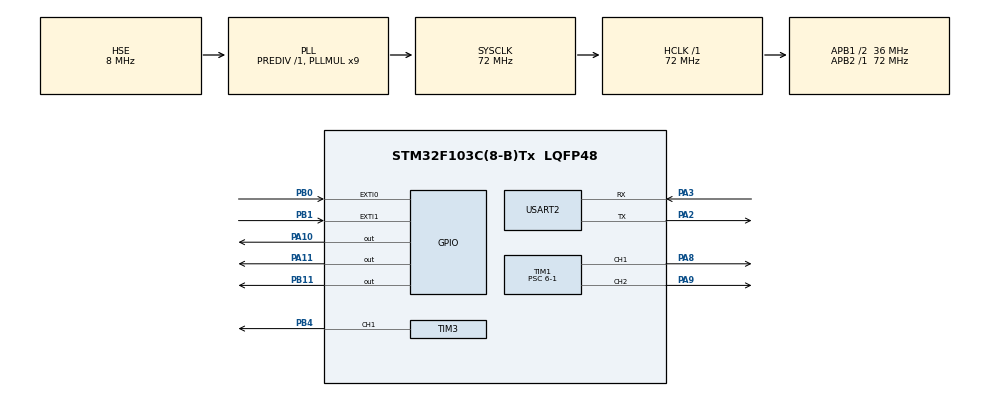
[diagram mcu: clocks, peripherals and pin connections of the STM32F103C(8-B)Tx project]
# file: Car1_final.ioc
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Dma.Request0=USART2_RX
Dma.USART2_RX.0.Direction=DMA_PERIPH_TO_MEMORY
Dma.USART2_RX.0.Instance=DMA1_Channel6
Dma.USART2_RX.0.MemDataAlignment=DMA_MDATAALIGN_BYTE
Dma.USART2_RX.0.MemInc=DMA_MINC_ENABLE
Dma.USART2_RX.0.Mode=DMA_NORMAL
Dma.USART2_RX.0.PeriphDataAlignment=DMA_PDATAALIGN_BYTE
Dma.USART2_RX.0.PeriphInc=DMA_PINC_DISABLE
Dma.USART2_RX.0.Priority=DMA_PRIORITY_LOW
Mcu.Family=STM32F1
Mcu.Name=STM32F103C(8-B)Tx
Mcu.Package=LQFP48
NVIC.DMA1_Channel6_IRQn=true\:0\:0\:false\:false\:true\:false\:true\:true
NVIC.EXTI0_IRQn=true\:0\:0\:false\:false\:true\:true\:true\:true
NVIC.EXTI1_IRQn=true\:0\:0\:false\:false\:true\:true\:true\:true
NVIC.PriorityGroup=NVIC_PRIORITYGROUP_4
PA10.Signal=GPIO_Output
PA11.Signal=GPIO_Output
PA13.Mode=Serial_Wire
PA13.Signal=SYS_JTMS-SWDIO
PA14.Mode=Serial_Wire
PA14.Signal=SYS_JTCK-SWCLK
PA2.Mode=Asynchronous
PA2.Signal=USART2_TX
PA3.Mode=Asynchronous
PA3.Signal=USART2_RX
PA8.Signal=S_TIM1_CH1
PA9.Signal=S_TIM1_CH2
PB0.Signal=GPXTI0
PB1.Signal=GPXTI1
PB11.Signal=GPIO_Output
PB4.Signal=S_TIM3_CH1
PD0-OSC_IN.Mode=HSE-External-Oscillator
PD0-OSC_IN.Signal=RCC_OSC_IN
PD1-OSC_OUT.Mode=HSE-External-Oscillator
PD1-OSC_OUT.Signal=RCC_OSC_OUT
ProjectManager.HeapSize=0x200
ProjectManager.StackSize=0x400
ProjectManager.TargetToolchain=STM32CubeIDE
RCC.AHBFreq_Value=72000000
RCC.APB1CLKDivider=RCC_HCLK_DIV2
RCC.APB1Freq_Value=36000000
RCC.APB1TimFreq_Value=72000000
RCC.APB2Freq_Value=72000000
RCC.APB2TimFreq_Value=72000000
RCC.HCLKFreq_Value=72000000
RCC.PLLMUL=RCC_PLL_MUL9
RCC.PLLSourceVirtual=RCC_PLLSOURCE_HSE
RCC.SYSCLKFreq_VALUE=72000000
RCC.SYSCLKSource=RCC_SYSCLKSOURCE_PLLCLK
RCC.USBFreq_Value=72000000
SH.S_TIM1_CH1.0=TIM1_CH1,PWM Generation1 CH1
SH.S_TIM1_CH2.0=TIM1_CH2,PWM Generation2 CH2
SH.S_TIM3_CH1.0=TIM3_CH1,PWM Generation1 CH1
TIM1.Channel-PWM\ Generation1\ CH1=TIM_CHANNEL_1
TIM1.Channel-PWM\ Generation2\ CH2=TIM_CHANNEL_2
TIM1.Period=12000-1
TIM1.Prescaler=6-1
TIM3.Channel-PWM\ Generation1\ CH1=TIM_CHANNEL_1
TIM3.Period=48000-1
TIM3.Prescaler=30-1
TIM3.Pulse-PWM\ Generation1\ CH1=3600
USART2.VirtualMode=VM_ASYNC
VP_TIM1_VS_ClockSourceINT.Mode=Internal
board=custom

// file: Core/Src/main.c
/* USER CODE BEGIN Header */
/**
  ******************************************************************************
  * @file           : main.c
  * @brief          : Main program body
  ******************************************************************************
  * @attention
  *
  * Copyright (c) 2024 STMicroelectronics.
  * All rights reserved.
  *
  * This software is licensed under terms that can be found in the LICENSE file
  * in the root directory of this software component.
  * If no LICENSE file comes with this software, it is provided AS-IS.
  *
  ******************************************************************************
  */
/* USER CODE END Header */
#include "main.h"

/* USER CODE BEGIN Includes */
//#include "GY85.h"
/* USER CODE END Includes */

TIM_HandleTypeDef htim1;
TIM_HandleTypeDef htim3;

UART_HandleTypeDef huart2;
DMA_HandleTypeDef hdma_usart2_rx;

/* USER CODE BEGIN PV */
flags_t timer_flags;
int time_ms = 0;
// counters for speed calculation
uint16_t front_wheel_interrupt_count = 0;
uint16_t rear_wheel_interrupt_count = 0;

// ipnut values for open loop control
uint16_t front_wheel_pwmval = 0;
uint16_t rear_wheel_pwmval = 0;
uint8_t is_go_backward = 0;
uint16_t tim3_pwmval_1 = 3600;
float steering_percentage = 0;

// IMU
//IMU_t IMU_car;
//uint16_t gyro_Z_raw[FILTER_N];
//float filtered_angle_rate = 0;
//float yaw_rate_buffer[YAW_RATE_BUF_SIZE];
//int yaw_rate_index = 0;

// map
map_t map;

// variables for pid control
PID_t image2steerPercent_PID_str;
PID_t front_wheel_PID_str;
PID_t rear_wheel_PID_str;
PID_t dis2spd_PID_str;
PID_t dis2spd_PID_str_back;

// UART
uint8_t rx_buffer[RX_BUFFER_SIZE];
uint8_t rx_main_buffer[MAIN_BUFFER_SIZE];

// camera
camera_t AMB82;
int camera_update_fail_count = 0;

/* USER CODE END PV */

void SystemClock_Config(void);
static void MX_GPIO_Init(void);
static void MX_DMA_Init(void);
static void MX_TIM1_Init(void);
static void MX_TIM3_Init(void);
static void MX_USART2_UART_Init(void);
/* USER CODE BEGIN PFP */
void following_loop_new();

void check_and_set_servo_pwmval(uint16_t* pwmval);
void check_and_set_DCmotor_pwm();

void PID_str_init(PID_t *PID, float Kp, float Ki, float Kd, float targe_val, float dt, float max, float min);
void PID_control(PID_t *PID, float new_val);

void wheel_speed_control();
void steer_control_image();

void steer_by_percentage(float);

void update_camera(camera_t *camera, uint8_t rx_data[23]);

void HAL_UARTEx_RxEventCallback(UART_HandleTypeDef *huart, uint16_t Size);
/* USER CODE END PFP */

int main(void)
{

  /* MCU Configuration--------------------------------------------------------*/

  /* Reset of all peripherals, Initializes the Flash interface and the Systick. */
  HAL_Init();

  /* Configure the system clock */
  SystemClock_Config();

  /* Initialize all configured peripherals */
  MX_GPIO_Init();
  MX_DMA_Init();
  MX_TIM1_Init();
  MX_TIM3_Init();
  MX_USART2_UART_Init();
  /* USER CODE BEGIN 2 */
  HAL_TIM_PWM_Start(&htim3, TIM_CHANNEL_1);
  HAL_TIM_PWM_Start(&htim1, TIM_CHANNEL_1);
  HAL_TIM_PWM_Start(&htim1, TIM_CHANNEL_2);
  // uart
	HAL_UARTEx_ReceiveToIdle_DMA(&huart2, rx_buffer, RX_BUFFER_SIZE);
	// PID
	PID_str_init(&image2steerPercent_PID_str, Kp_image2turnPercent, Ki_image2turnPercent, Kd_image2turnPercent, 0, dt_image2turnPercent, 100, -100);
	PID_str_init(&front_wheel_PID_str, Kp_speed, Ki_speed, Kd_speed, 0, dt_speed, PID_speed_max, PID_speed_min);
	PID_str_init(&rear_wheel_PID_str, Kp_speed, Ki_speed, Kd_speed, 0, dt_speed, PID_speed_max, PID_speed_min);
	PID_str_init(&dis2spd_PID_str, Kp_dis_ctrl, Ki_dis_ctrl, Kd_dis_ctrl, FOLLOWING_DIST, dt_dis_ctrl, MaxOutput_dis_ctrl, MinOutput_dis_ctrl);
	PID_str_init(&dis2spd_PID_str_back, Kp_dis_ctrl_back, Ki_dis_ctrl_back, Kd_dis_ctrl_back, FOLLOWING_DIST, dt_dis_ctrl, MaxOutput_dis_ctrl, MinOutput_dis_ctrl);

	init_timer_flags(timer_flags);

	//GY85_Init(&IMU_car);
	AMB82_INIT();
	MAP_INIT(map);

  /* USER CODE END 2 */

  /* Infinite loop */
  /* USER CODE BEGIN WHILE */

	following_loop_new();

  while (1)
  {
    /* USER CODE END WHILE */

  }
}

void SystemClock_Config(void)
{
  RCC_OscInitTypeDef RCC_OscInitStruct = {0};
  RCC_ClkInitTypeDef RCC_ClkInitStruct = {0};

  /** Initializes the RCC Oscillators according to the specified parameters
  * in the RCC_OscInitTypeDef structure.
  */
  RCC_OscInitStruct.OscillatorType = RCC_OSCILLATORTYPE_HSE;
  RCC_OscInitStruct.HSEState = RCC_HSE_ON;
  RCC_OscInitStruct.HSEPredivValue = RCC_HSE_PREDIV_DIV1;
  RCC_OscInitStruct.HSIState = RCC_HSI_ON;
  RCC_OscInitStruct.PLL.PLLState = RCC_PLL_ON;
  RCC_OscInitStruct.PLL.PLLSource = RCC_PLLSOURCE_HSE;
  RCC_OscInitStruct.PLL.PLLMUL = RCC_PLL_MUL9;
  if (HAL_RCC_OscConfig(&RCC_OscInitStruct) != HAL_OK)
  {
    Error_Handler();
  }

  /** Initializes the CPU, AHB and APB buses clocks
  */
  RCC_ClkInitStruct.ClockType = RCC_CLOCKTYPE_HCLK|RCC_CLOCKTYPE_SYSCLK
                              |RCC_CLOCKTYPE_PCLK1|RCC_CLOCKTYPE_PCLK2;
  RCC_ClkInitStruct.SYSCLKSource = RCC_SYSCLKSOURCE_PLLCLK;
  RCC_ClkInitStruct.AHBCLKDivider = RCC_SYSCLK_DIV1;
  RCC_ClkInitStruct.APB1CLKDivider = RCC_HCLK_DIV2;
  RCC_ClkInitStruct.APB2CLKDivider = RCC_HCLK_DIV1;

  if (HAL_RCC_ClockConfig(&RCC_ClkInitStruct, FLASH_LATENCY_2) != HAL_OK)
  {
    Error_Handler();
  }
}

static void MX_TIM1_Init(void)
{

  TIM_ClockConfigTypeDef sClockSourceConfig = {0};
  TIM_MasterConfigTypeDef sMasterConfig = {0};
  TIM_OC_InitTypeDef sConfigOC = {0};
  TIM_BreakDeadTimeConfigTypeDef sBreakDeadTimeConfig = {0};

  htim1.Instance = TIM1;
  htim1.Init.Prescaler = 6-1;
  htim1.Init.CounterMode = TIM_COUNTERMODE_UP;
  htim1.Init.Period = 12000-1;
  htim1.Init.ClockDivision = TIM_CLOCKDIVISION_DIV1;
  htim1.Init.RepetitionCounter = 0;
  htim1.Init.AutoReloadPreload = TIM_AUTORELOAD_PRELOAD_DISABLE;
  if (HAL_TIM_Base_Init(&htim1) != HAL_OK)
  {
    Error_Handler();
  }
  sClockSourceConfig.ClockSource = TIM_CLOCKSOURCE_INTERNAL;
  if (HAL_TIM_ConfigClockSource(&htim1, &sClockSourceConfig) != HAL_OK)
  {
    Error_Handler();
  }
  if (HAL_TIM_PWM_Init(&htim1) != HAL_OK)
  {
    Error_Handler();
  }
  sMasterConfig.MasterOutputTrigger = TIM_TRGO_RESET;
  sMasterConfig.MasterSlaveMode = TIM_MASTERSLAVEMODE_DISABLE;
  if (HAL_TIMEx_MasterConfigSynchronization(&htim1, &sMasterConfig) != HAL_OK)
  {
    Error_Handler();
  }
  sConfigOC.OCMode = TIM_OCMODE_PWM1;
  sConfigOC.Pulse = 0;
  sConfigOC.OCPolarity = TIM_OCPOLARITY_HIGH;
  sConfigOC.OCNPolarity = TIM_OCNPOLARITY_HIGH;
  sConfigOC.OCFastMode = TIM_OCFAST_DISABLE;
  sConfigOC.OCIdleState = TIM_OCIDLESTATE_RESET;
  sConfigOC.OCNIdleState = TIM_OCNIDLESTATE_RESET;
  if (HAL_TIM_PWM_ConfigChannel(&htim1, &sConfigOC, TIM_CHANNEL_1) != HAL_OK)
  {
    Error_Handler();
  }
  if (HAL_TIM_PWM_ConfigChannel(&htim1, &sConfigOC, TIM_CHANNEL_2) != HAL_OK)
  {
    Error_Handler();
  }
  sBreakDeadTimeConfig.OffStateRunMode = TIM_OSSR_DISABLE;
  sBreakDeadTimeConfig.OffStateIDLEMode = TIM_OSSI_DISABLE;
  sBreakDeadTimeConfig.LockLevel = TIM_LOCKLEVEL_OFF;
  sBreakDeadTimeConfig.DeadTime = 0;
  sBreakDeadTimeConfig.BreakState = TIM_BREAK_DISABLE;
  sBreakDeadTimeConfig.BreakPolarity = TIM_BREAKPOLARITY_HIGH;
  sBreakDeadTimeConfig.AutomaticOutput = TIM_AUTOMATICOUTPUT_DISABLE;
  if (HAL_TIMEx_ConfigBreakDeadTime(&htim1, &sBreakDeadTimeConfig) != HAL_OK)
  {
    Error_Handler();
  }
  HAL_TIM_MspPostInit(&htim1);

}

static void MX_TIM3_Init(void)
{

  TIM_MasterConfigTypeDef sMasterConfig = {0};
  TIM_OC_InitTypeDef sConfigOC = {0};

  htim3.Instance = TIM3;
  htim3.Init.Prescaler = 30-1;
  htim3.Init.CounterMode = TIM_COUNTERMODE_UP;
  htim3.Init.Period = 48000-1;
  htim3.Init.ClockDivision = TIM_CLOCKDIVISION_DIV1;
  htim3.Init.AutoReloadPreload = TIM_AUTORELOAD_PRELOAD_DISABLE;
  if (HAL_TIM_PWM_Init(&htim3) != HAL_OK)
  {
    Error_Handler();
  }
  sMasterConfig.MasterOutputTrigger = TIM_TRGO_RESET;
  sMasterConfig.MasterSlaveMode = TIM_MASTERSLAVEMODE_DISABLE;
  if (HAL_TIMEx_MasterConfigSynchronization(&htim3, &sMasterConfig) != HAL_OK)
  {
    Error_Handler();
  }
  sConfigOC.OCMode = TIM_OCMODE_PWM1;
  sConfigOC.Pulse = 3600;
  sConfigOC.OCPolarity = TIM_OCPOLARITY_HIGH;
  sConfigOC.OCFastMode = TIM_OCFAST_DISABLE;
  if (HAL_TIM_PWM_ConfigChannel(&htim3, &sConfigOC, TIM_CHANNEL_1) != HAL_OK)
  {
    Error_Handler();
  }
  HAL_TIM_MspPostInit(&htim3);

}

static void MX_USART2_UART_Init(void)
{

  huart2.Instance = USART2;
  huart2.Init.BaudRate = 115200;
  huart2.Init.WordLength = UART_WORDLENGTH_8B;
  huart2.Init.StopBits = UART_STOPBITS_1;
  huart2.Init.Parity = UART_PARITY_NONE;
  huart2.Init.Mode = UART_MODE_TX_RX;
  huart2.Init.HwFlowCtl = UART_HWCONTROL_NONE;
  huart2.Init.OverSampling = UART_OVERSAMPLING_16;
  if (HAL_UART_Init(&huart2) != HAL_OK)
  {
    Error_Handler();
  }

}

static void MX_DMA_Init(void)
{

  /* DMA controller clock enable */
  __HAL_RCC_DMA1_CLK_ENABLE();

  /* DMA interrupt init */
  /* DMA1_Channel6_IRQn interrupt configuration */
  HAL_NVIC_SetPriority(DMA1_Channel6_IRQn, 0, 0);
  HAL_NVIC_EnableIRQ(DMA1_Channel6_IRQn);

}

static void MX_GPIO_Init(void)
{
  GPIO_InitTypeDef GPIO_InitStruct = {0};

  /* GPIO Ports Clock Enable */
  __HAL_RCC_GPIOD_CLK_ENABLE();
  __HAL_RCC_GPIOA_CLK_ENABLE();
  __HAL_RCC_GPIOB_CLK_ENABLE();

  /*Configure GPIO pin Output Level */
  HAL_GPIO_WritePin(GPIOB, GPIO_PIN_11, GPIO_PIN_RESET);

  /*Configure GPIO pin Output Level */
  HAL_GPIO_WritePin(GPIOA, GPIO_PIN_10|GPIO_PIN_11, GPIO_PIN_RESET);

  /*Configure GPIO pins : PB0 PB1 */
  GPIO_InitStruct.Pin = GPIO_PIN_0|GPIO_PIN_1;
  GPIO_InitStruct.Mode = GPIO_MODE_IT_RISING;
  GPIO_InitStruct.Pull = GPIO_NOPULL;
  HAL_GPIO_Init(GPIOB, &GPIO_InitStruct);

  /*Configure GPIO pin : PB11 */
  GPIO_InitStruct.Pin = GPIO_PIN_11;
  GPIO_InitStruct.Mode = GPIO_MODE_OUTPUT_PP;
  GPIO_InitStruct.Pull = GPIO_NOPULL;
  GPIO_InitStruct.Speed = GPIO_SPEED_FREQ_LOW;
  HAL_GPIO_Init(GPIOB, &GPIO_InitStruct);

  /*Configure GPIO pins : PA10 PA11 */
  GPIO_InitStruct.Pin = GPIO_PIN_10|GPIO_PIN_11;
  GPIO_InitStruct.Mode = GPIO_MODE_OUTPUT_PP;
  GPIO_InitStruct.Pull = GPIO_NOPULL;
  GPIO_InitStruct.Speed = GPIO_SPEED_FREQ_LOW;
  HAL_GPIO_Init(GPIOA, &GPIO_InitStruct);

  /* EXTI interrupt init*/
  HAL_NVIC_SetPriority(EXTI0_IRQn, 0, 0);
  HAL_NVIC_EnableIRQ(EXTI0_IRQn);

  HAL_NVIC_SetPriority(EXTI1_IRQn, 0, 0);
  HAL_NVIC_EnableIRQ(EXTI1_IRQn);

}

/* USER CODE BEGIN 4 */
void check_and_set_servo_pwmval(uint16_t* pwmval){
	//check
	if(*pwmval > TIM3_PWMVal_MAX) *pwmval = TIM3_PWMVal_MAX;
	if(*pwmval < TIM3_PWMVal_MIN) *pwmval = TIM3_PWMVal_MIN;
	//set
	__HAL_TIM_SetCompare(servo_PWM_TIM, servo_PWM_CHANNEL, *pwmval);
}

void check_and_set_DCmotor_pwm(){
	//check
	if (front_wheel_pwmval > TIM1_PWMVal_MAX) front_wheel_pwmval = TIM1_PWMVal_MAX;
	if (rear_wheel_pwmval > TIM1_PWMVal_MAX) rear_wheel_pwmval = TIM1_PWMVal_MAX;
	if (front_wheel_pwmval < TIM1_PWMVal_MIN) front_wheel_pwmval = TIM1_PWMVal_MIN;
	if (rear_wheel_pwmval < TIM1_PWMVal_MIN) rear_wheel_pwmval = TIM1_PWMVal_MIN;
	//set
	SET_FRONT_MOTOR_PWM(front_wheel_pwmval);
	SET_REAR_MOTOR_PWM(rear_wheel_pwmval);
	if(is_go_backward){
		HAL_GPIO_WritePin(MOTOR_DIR_CTRL_GPIO, FRONT_MOTOR_DIR_CTRL_PIN, FRONT_MOTOR_DIR_CTRL_BACKWARD);
		HAL_GPIO_WritePin(MOTOR_DIR_CTRL_GPIO, REAR_MOTOR_DIR_CTRL_PIN, REAR_MOTOR_DIR_CTRL_BACKWARD);
	}
	else{
		HAL_GPIO_WritePin(MOTOR_DIR_CTRL_GPIO, FRONT_MOTOR_DIR_CTRL_PIN, FRONT_MOTOR_DIR_CTRL_FORWARD);
		HAL_GPIO_WritePin(MOTOR_DIR_CTRL_GPIO, REAR_MOTOR_DIR_CTRL_PIN, REAR_MOTOR_DIR_CTRL_FORWARD);
	}
}

void PID_str_init(PID_t *PID, float Kp, float Ki, float Kd, float targe_val, float dt, float max, float min){
	PID->Kp = Kp;
	PID->Ki = Ki;
	PID->Kd = Kd;
	PID->target_val = targe_val;
	PID->dt = dt;
	for (int i = 0; i < PID_BUFFERSIZE; i++){
		PID->err_buffer[i] = 0;
	}
	PID->cir_queue_index = 0;
	PID->max_ctrl_val = max;
	PID->min_ctrl_val = min;
	PID->ctrl_val = 0;
}

void PID_control(PID_t *PID, float new_val){
	float P, I, D, d_err;
	float err_sum = 0;
	PID->err_buffer[PID->cir_queue_index] = PID->target_val - new_val;
	for (int i = 0; i < PID_BUFFERSIZE; i++){
		err_sum += PID->err_buffer[i];
	}
	if (PID->cir_queue_index == 0){
		d_err = PID->err_buffer[PID->cir_queue_index] - PID->err_buffer[PID_BUFFERSIZE - 1];
	}
	else{
		d_err = PID->err_buffer[PID->cir_queue_index] - PID->err_buffer[PID->cir_queue_index - 1];
	}
	P = PID->err_buffer[PID->cir_queue_index] * PID->Kp;
	I = err_sum * PID->Ki;
	D = PID->Kd * d_err / PID->dt;
	PID->ctrl_val = P + I + D;
	if (PID->ctrl_val > PID->max_ctrl_val){
		PID->ctrl_val = PID->max_ctrl_val;
	}
	else if (PID->ctrl_val < PID->min_ctrl_val){
		PID->ctrl_val = PID->min_ctrl_val;
	}
	PID->cir_queue_index ++;
	if (PID->cir_queue_index == PID_BUFFERSIZE){
		PID->cir_queue_index = 0;
	}
}

void wheel_speed_control(map_t * map){
	PID_control(&front_wheel_PID_str, (float)front_wheel_interrupt_count);
	PID_control(&rear_wheel_PID_str, (float)rear_wheel_interrupt_count);
	if (is_go_backward){
		map->motor_int_count -= (int)(0.5*(front_wheel_interrupt_count + rear_wheel_interrupt_count));
	}
	else {
		map->motor_int_count += (int)(0.5*(front_wheel_interrupt_count + rear_wheel_interrupt_count));
	}
	front_wheel_interrupt_count = 0;
	rear_wheel_interrupt_count = 0;

	front_wheel_pwmval += front_wheel_PID_str.ctrl_val;
	rear_wheel_pwmval += rear_wheel_PID_str.ctrl_val;

	check_and_set_DCmotor_pwm();
}

void steer_control_image(){
	if (is_go_backward){
		steering_percentage = -image2steerPercent_PID_str.ctrl_val;
	}
	else{
		steering_percentage = image2steerPercent_PID_str.ctrl_val;
	}
	steer_by_percentage(steering_percentage);
}

//input: percentage > 0:
// 100 -> 12.5
// 0 -> 2.5
void steer_by_percentage(float percentage){
	uint16_t pwmval = 0;
	pwmval = (uint16_t)(TIM3_PWMVal_MIN + TIM3_PWMVal_RANGE*(0.5 + percentage/200.0));
	check_and_set_servo_pwmval(&pwmval);
}

void update_camera(camera_t *camera, uint8_t rx_data[23]){
	camera->updated = 1;

	camera->low_left[coord_x] = 0;
	camera->low_left[coord_y] = 0;
	camera->up_right[coord_x] = 0;
	camera->up_right[coord_y] = 0;
	camera->confidence = 0;

	camera->low_left[coord_x] += (rx_data[x_min_byte	] - 48) * 1000;
	camera->low_left[coord_x] += (rx_data[x_min_byte + 1] - 48) * 100;
	camera->low_left[coord_x] += (rx_data[x_min_byte + 2] - 48) * 10;
	camera->low_left[coord_x] += (rx_data[x_min_byte + 3] - 48);

	camera->low_left[coord_y] += (rx_data[y_min_byte	] - 48) * 1000;
	camera->low_left[coord_y] += (rx_data[y_min_byte + 1] - 48) * 100;
	camera->low_left[coord_y] += (rx_data[y_min_byte + 2] - 48) * 10;
	camera->low_left[coord_y] += (rx_data[y_min_byte + 3] - 48);

	camera->up_right[coord_x] += (rx_data[x_max_byte	] - 48) * 1000;
	camera->up_right[coord_x] += (rx_data[x_max_byte + 1] - 48) * 100;
	camera->up_right[coord_x] += (rx_data[x_max_byte + 2] - 48) * 10;
	camera->up_right[coord_x] += (rx_data[x_max_byte + 3] - 48);

	camera->up_right[coord_y] += (rx_data[y_max_byte	] - 48) * 1000;
	camera->up_right[coord_y] += (rx_data[y_max_byte + 1] - 48) * 100;
	camera->up_right[coord_y] += (rx_data[y_max_byte + 2] - 48) * 10;
	camera->up_right[coord_y] += (rx_data[y_max_byte + 3] - 48);

	camera->center[coord_x] = (camera->low_left[coord_x] + camera->up_right[coord_x]) / 2;
	camera->center[coord_y] = (camera->low_left[coord_y] + camera->up_right[coord_y]) / 2;

	camera->confidence += (rx_data[confidence_byte] - 48) * 10;
	camera->confidence += (rx_data[confidence_byte + 1] - 48);

	camera->diag_length = pow(camera->low_left[coord_x] - camera->up_right[coord_x], 2) + \
						  pow(camera->low_left[coord_y] - camera->up_right[coord_y], 2);

}

void AMB82_CalcObjPos(camera_t *camera, map_t *map) {
	// +x: forward
//	float angle = (camera->center[0] - 960) / AMB82_FOV;
	float angle = 0;
	float distance = 23367.28/(camera->up_right[1]-camera->low_left[1]);//未修正
// distance = -14.04+1.18*distance;//�???�修�?
	distance = 0.1054+0.9397579*distance+8.86754e-4*pow(distance, 2);//二�?�修�?
// distance = -15.5162+1.367*distance-2.5996e-3*pow(distance, 2)+8.6963e-6*pow(distance, 3);//三�?�修�?
// distance = 3.89298+0.64038*distance+6.6809e-3*pow(distance, 2)-3.994e-5*pow(distance, 3)+8.97e-8*pow(distance, 4);//??��?�修�?
// distance = 467.69487-21.4*distance+0.39583*pow(distance, 2)-3.25866e-3*pow(distance, 3)+1.26646e-5*pow(distance, 4)-1.871e-8*pow(distance, 5);//五�?�修�?
	// save point
	map->queue_index++;
	if (map->queue_index == MAP_POINT_NUM) {
		map->queue_index = 0;
	}
	map->points[map->queue_index][0] = distance * cos(RAD2DEG * angle);
	map->points[map->queue_index][1] = distance * sin(RAD2DEG * angle);

//	camera->distance[camera->dist_cir_que_index] = distance;
//	camera->dist_cir_que_index++;
//	if(camera->dist_cir_que_index == CAM_DIST_CIR_QUE_LENGTH) {
//		camera->dist_cir_que_index = 0;
//	}
//	Map_SavePosition(map, x, y, (uint8_t)camera->confidence);
}

void map_linear_predeict(float *predicted_angle, float *predicted_distance, map_t *map, float moved_angle_rad, float moved_dis_cm) {
	float x_predict, y_predict;
	float q[2];
	if (moved_angle_rad >= 0.035 || moved_angle_rad <= -0.035) {
		q[0] = (moved_dis_cm/moved_angle_rad)*(sin(moved_angle_rad)*cos(moved_angle_rad) + (sin(moved_angle_rad)*cos(moved_angle_rad) - sin(moved_angle_rad)));
		q[1] = (moved_dis_cm/moved_angle_rad)*(sin(moved_angle_rad)*sin(moved_angle_rad) + (cos(moved_angle_rad)*cos(moved_angle_rad) - cos(moved_angle_rad)));
	}
	else {
		q[0] = moved_dis_cm;
		q[1] = 0;
	}
	for (int i = 0; i < MAP_POINT_NUM; i++){
		if (i != map->queue_index){
			map->points[i][0] -= q[0];
			map->points[i][1] -= q[1];
		}
	}

	if (map->queue_index == 0){
//		x_predict = 2 * map->points[map->queue_index][0] - map->points[MAP_POINT_NUM - 1][0];
//		y_predict = 2 * map->points[map->queue_index][1] - map->points[MAP_POINT_NUM - 1][1];
		x_predict = map->points[map->queue_index][0] + 0.8*(map->points[map->queue_index][0] - map->points[MAP_POINT_NUM - 1][0]);
		y_predict = map->points[map->queue_index][1] + 0.8*(map->points[map->queue_index][1] - map->points[MAP_POINT_NUM - 1][1]);

	}
	else {
//		x_predict = 2 * map->points[map->queue_index][0] - map->points[map->queue_index - 1][0];
//		y_predict = 2 * map->points[map->queue_index][1] - map->points[map->queue_index - 1][1];
		x_predict = map->points[map->queue_index][0] + 0.8*(map->points[map->queue_index][0] - map->points[map->queue_index - 1][0]);
		y_predict = map->points[map->queue_index][1] + 0.8*(map->points[map->queue_index][1] - map->points[map->queue_index - 1][1]);
	}

	*predicted_angle = RAD2DEG * atan(y_predict/x_predict);
	//*predicted_distance = sqrt(x_predict*x_predict + y_predict*y_predict);
	*predicted_distance = x_predict;
}

void HAL_UARTEx_RxEventCallback(UART_HandleTypeDef *huart, uint16_t Size){
	if (huart->Instance == USART2){
		memcpy(rx_main_buffer, rx_buffer, RX_BUFFER_SIZE);
		update_camera(&AMB82, rx_main_buffer);
		if(AMB82.confidence > 70) {
			AMB82_CalcObjPos(&AMB82, &map);
		}
//		imageDiag2speedTarget(AMB82.diag_length);
		HAL_UARTEx_ReceiveToIdle_DMA(&huart2, rx_buffer, RX_BUFFER_SIZE);
		__HAL_DMA_DISABLE_IT(&hdma_usart2_rx, DMA_IT_HT);
	}
}

// 中位值平均濾波法（又稱防脈衝干擾平均濾波法）（算法1）
float yaw_rate_filter(float *buffer) {
  int i, j;
  float temp;
  float filter_sum = 0;

	// insertion sort
  for (i = 1; i < YAW_RATE_BUF_SIZE; i++) {
		temp = buffer[i];
		for (j = i - 1; j >= 0 && buffer[j] > temp; j--) {
			buffer[j + 1] = buffer[j];
		}
		buffer[j + 1] = temp;
  }

  // 去除最大最小極值後求平均
  for(i = 2; i < YAW_RATE_BUF_SIZE - 2; i++) filter_sum += buffer[i];
  return filter_sum / (float)(YAW_RATE_BUF_SIZE - 4);
}

void following_loop_new() {
	timer_flags.freeze_for_test = 0;
	while (1)
	{
		// read IMU f = 100hz
		if(timer_flags.do_read_IMU) {
			timer_flags.do_read_IMU = 0;
			//GY85_Read_IMU(&IMU_car);
//			yaw_rate_buffer[yaw_rate_index] = IMU_car.GyroZ;
//			yaw_rate_index = (yaw_rate_index + 1) % YAW_RATE_BUF_SIZE;
		}

		// speed control f= 10hz
		if(timer_flags.do_PID_wheel){
			timer_flags.do_PID_wheel = 0;
			//IMU_car.yaw += 0.1 * (yaw_rate_filter(yaw_rate_buffer) - IMU_car.yaw_rate_bias);
			wheel_speed_control(&map);
			check_and_set_DCmotor_pwm();
		}

		// f = 5hz
		// updatae speed and steer control
		if (timer_flags.cam_data_update) {
			timer_flags.cam_data_update = 0;
			if (AMB82.updated == 0){
				camera_update_fail_count++;
				if (camera_update_fail_count > MAX_CAMERA_FAIL_COUNT){
					change_wheel_PID_target_val(0);
				}
			}
			else{
				AMB82.updated = 0;
				camera_update_fail_count = 0;
				float dist ,angle;
	//			map_linear_predeict(&angle, &dist, &map, IMU_car.yaw/RAD2DEG, map.motor_int_count*pulse2dis);
				map_linear_predeict(&angle, &dist, &map, 0, map.motor_int_count*pulse2dis);
				//IMU_car.yaw = 0;
				map.motor_int_count = 0;
				// distance control
				DIST_CTRL();
				// steering control
				STEER_CTRL_IMG();
			}
		}
	}
}

/* USER CODE END 4 */

void Error_Handler(void)
{
  __disable_irq();
  while (1)
  {
  }
}
